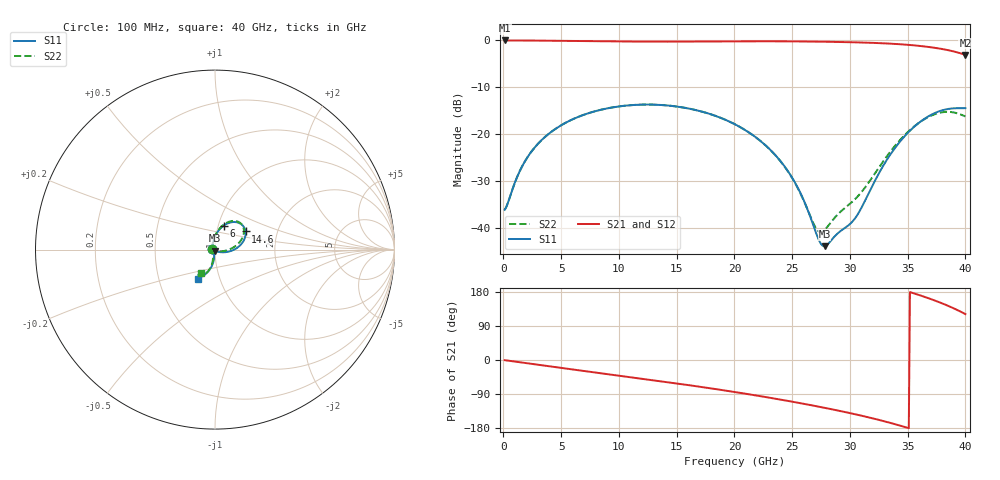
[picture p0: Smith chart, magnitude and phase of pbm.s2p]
! A_s4_d200_ap1000: physics-based via model (prototype), ports at the via
# Hz S RI R 50
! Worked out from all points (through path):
!   400 points, 100 MHz to 40 GHz, reference 50 ohm
!   highest |S21| = -0.13 dB at 100 MHz (marker M1); lowest = -3.2 dB at 40 GHz (marker M2)
!   group delay of S21, straight-line fit = 14.9 ps
!   lowest |S11| = -43.9 dB at 27.8 GHz (marker M3), VSWR 1.01, Z = 49.8 - j0.585 ohm
!   |S11| at or under -10 dB: start of sweep to end of sweep
!   |S22| runs from -40.9 to -13.8 dB; largest |S21 - S12| = 0
!   S11 on the Smith chart (normalised r, x): 100 MHz: 0.97, +0.01; 6 GHz: 1.06, +0.29; 14.6 GHz: 1.37, +0.29; 40 GHz: 0.79, -0.26
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1e8  -0.0153 0.00276  0.9847 -0.00724  0.9847 -0.00724  -0.0153 0.00275
1.4e9  -0.0112 0.0382  0.9787 -0.101  0.9787 -0.101  -0.0116 0.0381
2.4e9  -0.00358 0.064  0.9673 -0.172  0.9673 -0.172  -0.00451 0.0639
4e9  0.0158 0.1004  0.9372 -0.2822  0.9372 -0.2822  0.0134 0.1008
6e9  0.0491 0.134  0.8816 -0.4112  0.8816 -0.4112  0.0442 0.1358
6.8e9  0.0641 0.143  0.8545 -0.4596  0.8545 -0.4596  0.0581 0.1456
9.9e9  0.1212 0.1523  0.7272 -0.6289  0.7272 -0.6289  0.1118 0.1595
1.34e10  0.1644 0.1195  0.5468 -0.7852  0.5468 -0.7852  0.1541 0.1328
1.46e10  0.17 0.1009  0.476 -0.8301  0.476 -0.8301  0.1603 0.116
2.01e10  0.1247 0.0107  0.0869 -0.9594  0.0869 -0.9594  0.1224 0.0265
2.23e10  0.0824 -0.00967  -0.0957 -0.9601  -0.0957 -0.9601  0.0829 0.00194
2.41e10  0.0468 -0.015  -0.251 -0.9307  -0.251 -0.9307  0.0483 -0.00819
2.55e10  0.0229 -0.0132  -0.3719 -0.8868  -0.3719 -0.8868  0.024 -0.0104
2.67e10  0.0072 -0.00937  -0.4733 -0.8334  -0.4733 -0.8334  0.0073 -0.00971
2.73e10  0.00135 -0.00733  -0.5226 -0.801  -0.5226 -0.801  0.000735 -0.00908
2.78e10  -0.00244 -0.00588  -0.5627 -0.7711  -0.5627 -0.7711  -0.00373 -0.00867
3.05e10  -0.00769 -0.0103  -0.7555 -0.5598  -0.7555 -0.5598  -0.0127 -0.016
3.34e10  -0.00677 -0.0572  -0.8814 -0.2344  -0.8814 -0.2344  -0.0124 -0.0609
3.51e10  -0.0235 -0.1022  -0.8834 -0.00128  -0.8834 -0.00128  -0.0267 -0.1034
3.69e10  -0.0618 -0.1431  -0.7962 0.2586  -0.7962 0.2586  -0.0614 -0.1402
3.85e10  -0.0955 -0.1569  -0.6197 0.4676  -0.6197 0.4676  -0.0906 -0.1451
4e10  -0.0941 -0.1621  -0.3575 0.5914  -0.3575 0.5914  -0.0762 -0.1326
